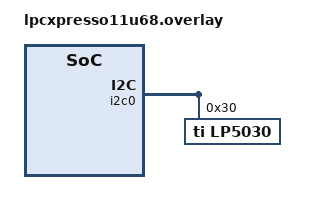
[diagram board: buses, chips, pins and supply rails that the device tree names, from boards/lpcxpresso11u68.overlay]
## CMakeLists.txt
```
# SPDX-License-Identifier: Apache-2.0

cmake_minimum_required(VERSION 3.20.0)

find_package(Zephyr REQUIRED HINTS $ENV{ZEPHYR_BASE})
project(led_lp503x)

FILE(GLOB app_sources src/*.c)
target_sources(app PRIVATE ${app_sources})
```

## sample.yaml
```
sample:
  description: Demonstration of the LP503x LED driver
  name: LP503x sample
tests:
  sample.drivers.led.lp503x:
    filter: dt_compat_enabled("ti,lp503x")
    tags: LED
    depends_on: i2c
```

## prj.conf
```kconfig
CONFIG_LOG=y

CONFIG_I2C=y

CONFIG_LED=y
CONFIG_LP503X=y
```

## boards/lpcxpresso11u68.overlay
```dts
/*
 * Copyright (c) 2020 Seagate Technology LLC
 *
 * SPDX-License-Identifier: Apache-2.0
 */

#include <zephyr/dt-bindings/led/led.h>

&i2c0 {
	/* TI LP5030 LED controller connected to I2C0. */
	lp5030@30 {
		compatible = "ti,lp5030", "ti,lp503x";
		reg = <0x30>;

		led_0 {
			label = "LED LP5030 0";
			index = <0>;
			color-mapping =
				<LED_COLOR_ID_RED>,
				<LED_COLOR_ID_GREEN>,
				<LED_COLOR_ID_BLUE>;
		};
		led_1 {
			label = "LED LP5030 1";
			index = <1>;
			color-mapping =
				<LED_COLOR_ID_RED>,
				<LED_COLOR_ID_GREEN>,
				<LED_COLOR_ID_BLUE>;
		};
		led_2 {
			label = "LED LP5030 2";
			index = <2>;
			color-mapping =
				<LED_COLOR_ID_RED>,
				<LED_COLOR_ID_GREEN>,
				<LED_COLOR_ID_BLUE>;
		};
		led_3 {
			label = "LED LP5030 3";
			index = <3>;
			color-mapping =
				<LED_COLOR_ID_RED>,
				<LED_COLOR_ID_GREEN>,
				<LED_COLOR_ID_BLUE>;
		};
		led_4 {
			label = "LED LP5030 4";
			index = <4>;
			color-mapping =
				<LED_COLOR_ID_RED>,
				<LED_COLOR_ID_GREEN>,
				<LED_COLOR_ID_BLUE>;
		};
		led_5 {
			label = "LED LP5030 5";
			index = <5>;
			color-mapping =
				<LED_COLOR_ID_RED>,
				<LED_COLOR_ID_GREEN>,
				<LED_COLOR_ID_BLUE>;
		};
		led_6 {
			label = "LED LP5030 6";
			index = <6>;
			color-mapping =
				<LED_COLOR_ID_RED>,
				<LED_COLOR_ID_GREEN>,
				<LED_COLOR_ID_BLUE>;
		};
		led_7 {
			label = "LED LP5030 7";
			index = <7>;
			color-mapping =
				<LED_COLOR_ID_RED>,
				<LED_COLOR_ID_GREEN>,
				<LED_COLOR_ID_BLUE>;
		};
		led_8 {
			label = "LED LP5030 8";
			index = <8>;
			color-mapping =
				<LED_COLOR_ID_RED>,
				<LED_COLOR_ID_GREEN>,
				<LED_COLOR_ID_BLUE>;
		};
		led_9 {
			label = "LED LP5030 9";
			index = <9>;
			color-mapping =
				<LED_COLOR_ID_RED>,
				<LED_COLOR_ID_GREEN>,
				<LED_COLOR_ID_BLUE>;
		};
	};
};
```

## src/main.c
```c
/*
 * Copyright (c) 2020 Seagate Technology LLC
 *
 * SPDX-License-Identifier: Apache-2.0
 */

#include <zephyr/device.h>
#include <errno.h>
#include <zephyr/drivers/led.h>
#include <zephyr/drivers/led/lp503x.h>
#include <zephyr/sys/util.h>
#include <zephyr/kernel.h>

#define LOG_LEVEL CONFIG_LOG_DEFAULT_LEVEL
#include <zephyr/logging/log.h>
LOG_MODULE_REGISTER(main);

#define MAX_BRIGHTNESS	100

#define SLEEP_DELAY_MS	1000
#define FADE_DELAY_MS	10

#define FADE_DELAY	K_MSEC(FADE_DELAY_MS)
#define SLEEP_DELAY	K_MSEC(SLEEP_DELAY_MS)

/*
 * The following colors are shown in the given order.
 */
static uint8_t colors[][3] = {
	{ 0xFF, 0x00, 0x00 }, /* Red    */
	{ 0x00, 0xFF, 0x00 }, /* Green  */
	{ 0x00, 0x00, 0xFF }, /* Blue   */
	{ 0xFF, 0xFF, 0xFF }, /* White  */
	{ 0xFF, 0xFF, 0x00 }, /* Yellow */
	{ 0xFF, 0x00, 0xFF }, /* Purple */
	{ 0x00, 0xFF, 0xFF }, /* Cyan   */
	{ 0xF4, 0x79, 0x20 }, /* Orange */
};

/**
 * @brief Run tests on a single LED using the LED-based API syscalls.
 *
 * @param lp503x_dev LP503X LED controller device.
 * @param led Number of the LED to test.
 */
static int run_led_test(const struct device *lp503x_dev, uint8_t led)
{
	uint8_t idx;
	int err;

	LOG_INF("Testing LED %d (LED API)", led);

	for (idx = 0; idx < ARRAY_SIZE(colors); idx++) {
		uint16_t level;

		/* Update LED color. */
		err = led_set_color(lp503x_dev, led, 3, colors[idx]);
		if (err < 0) {
			LOG_ERR("Failed to set LED %d color to "
				"%02x:%02x:%02x, err=%d", led,
				colors[idx][0], colors[idx][1],
				colors[idx][2], err);
			return err;
		}
		k_sleep(SLEEP_DELAY);

		/* Turn LED on. */
		err = led_on(lp503x_dev, led);
		if (err < 0) {
			LOG_ERR("Failed to turn LED %d on, err=%d", led, err);
			return err;
		}
		k_sleep(SLEEP_DELAY);

		/* Turn LED off. */
		err = led_off(lp503x_dev, led);
		if (err < 0) {
			LOG_ERR("Failed to turn LED %d off, err=%d", led, err);
			return err;
		}
		k_sleep(SLEEP_DELAY);

		/* Set LED brightness gradually to the maximum level. */
		for (level = 0; level <= MAX_BRIGHTNESS; level++) {
			err = led_set_brightness(lp503x_dev, led, level);
			if (err < 0) {
				LOG_ERR("Failed to set LED %d brightness to %d"
					", err=%d\n", led, level, err);
				return err;
			}
			k_sleep(FADE_DELAY);
		}
		k_sleep(SLEEP_DELAY);

		/* Turn LED off. */
		err = led_off(lp503x_dev, led);
		if (err < 0) {
			LOG_ERR("Failed to turn LED %d off, err=%d", led, err);
			return err;
		}
		k_sleep(SLEEP_DELAY);
	}

	return 0;
}

/**
 * @brief Run tests on all the LEDs using the channel-based API syscalls.
 *
 * @param lp503x_dev LP503X LED controller device.
 */
static int run_channel_test(const struct device *lp503x_dev)
{
	uint8_t idx;
	uint8_t buffer[LP503X_COLORS_PER_LED * LP503X_MAX_LEDS];
	int err;

	LOG_INF("Testing all LEDs (channel API)");

	for (idx = 0; idx < ARRAY_SIZE(colors); idx++) {
		uint8_t led;
		uint16_t level;

		/* Update LEDs colors. */
		for (led = 0; led < LP503X_MAX_LEDS; led++) {
			uint8_t *col = &buffer[led * 3];

			col[0] = colors[idx][0];
			col[1] = colors[idx][1];
			col[2] = colors[idx][2];
		}
		err = led_write_channels(lp503x_dev, LP503X_LED_COL1_CHAN(0),
					 LP503X_COLORS_PER_LED *
					 LP503X_MAX_LEDS,
					 buffer);
		if (err < 0) {
			LOG_ERR("Failed to write channels, start=%d num=%d"
				" err=%d\n", LP503X_LED_COL1_CHAN(0),
				LP503X_COLORS_PER_LED * LP503X_MAX_LEDS, err);
			return err;
		}
		k_sleep(SLEEP_DELAY);

		/* Turn LEDs on. */
		for (led = 0; led < LP503X_MAX_LEDS; led++) {
			buffer[led] = MAX_BRIGHTNESS;
		}
		err = led_write_channels(lp503x_dev,
					 LP503X_LED_BRIGHT_CHAN(0),
					 LP503X_MAX_LEDS, buffer);
		if (err < 0) {
			LOG_ERR("Failed to write channels, start=%d num=%d"
				" err=%d\n", LP503X_LED_BRIGHT_CHAN(0),
				LP503X_MAX_LEDS, err);
			return err;
		}
		k_sleep(SLEEP_DELAY);

		/* Turn LEDs off. */
		for (led = 0; led < LP503X_MAX_LEDS; led++) {
			buffer[led] = 0;
		}
		err = led_write_channels(lp503x_dev,
					 LP503X_LED_BRIGHT_CHAN(0),
					 LP503X_MAX_LEDS, buffer);
		if (err < 0) {
			LOG_ERR("Failed to write channels, start=%d num=%d"
				" err=%d\n", LP503X_LED_BRIGHT_CHAN(0),
				LP503X_MAX_LEDS, err);
			return err;
		}
		k_sleep(SLEEP_DELAY);

		/* Set LEDs brightnesses gradually to the maximum level. */
		for (level = 0; level <= MAX_BRIGHTNESS; level++) {
			for (led = 0; led < LP503X_MAX_LEDS; led++) {
				buffer[led] = level;
			}
			err = led_write_channels(lp503x_dev,
					LP503X_LED_BRIGHT_CHAN(0),
					LP503X_MAX_LEDS, buffer);
			if (err < 0) {
				LOG_ERR("Failed to write channels, start=%d"
					" num=%d err=%d\n",
					LP503X_LED_BRIGHT_CHAN(0),
					LP503X_MAX_LEDS, err);
				return err;
			}
			k_sleep(FADE_DELAY);
		}
		k_sleep(SLEEP_DELAY);

		/* Turn LEDs off. */
		for (led = 0; led < LP503X_MAX_LEDS; led++) {
			buffer[led] = 0;
		}
		err = led_write_channels(lp503x_dev,
					 LP503X_LED_BRIGHT_CHAN(0),
					 LP503X_MAX_LEDS, buffer);
		if (err < 0) {
			LOG_ERR("Failed to write channels, start=%d "
				"num=%d err=%d\n", LP503X_LED_BRIGHT_CHAN(0),
				LP503X_MAX_LEDS, err);
			return err;
		}
		k_sleep(SLEEP_DELAY);
	}

	return 0;
}

int main(void)
{
	const struct device *const lp503x_dev = DEVICE_DT_GET_ANY(ti_lp503x);

	int err;
	uint8_t led;
	uint8_t num_leds = 0;

	if (!lp503x_dev) {
		LOG_ERR("No device with compatible ti,lp503x found");
		return 0;
	} else if (!device_is_ready(lp503x_dev)) {
		LOG_ERR("LED controller %s is not ready", lp503x_dev->name);
		return 0;
	}
	LOG_INF("Found LED controller %s", lp503x_dev->name);

	for (led = 0; led < LP503X_MAX_LEDS; led++) {
		int col;
		const struct led_info *info;

		err = led_get_info(lp503x_dev, led, &info);
		if (err < 0) {
			LOG_DBG("Failed to get information for LED %d (err=%d)",
				led, err);
			break;
		}

		/* Display LED information. */
		printk("Found LED %d", led);
		if (info->label) {
			printk(" - %s", info->label);
		}
		printk(" - index:%d", info->index);
		printk(" - %d colors", info->num_colors);
		if (!info->color_mapping) {
			continue;
		}
		printk(" - %d", info->color_mapping[0]);
		for (col = 1; col < info->num_colors; col++) {
			printk(":%d", info->color_mapping[col]);
		}
		printk("\n");
	}
	num_leds = led;
	if (!num_leds) {
		LOG_ERR("No LEDs found");
		return 0;
	}

	do {
		err = run_channel_test(lp503x_dev);
		if (err) {
			return 0;
		}
		for (led = 0; led < num_leds; led++) {
			err = run_led_test(lp503x_dev, led);
			if (err) {
				return 0;
			}
		}
	} while (true);
	return 0;
}
```
